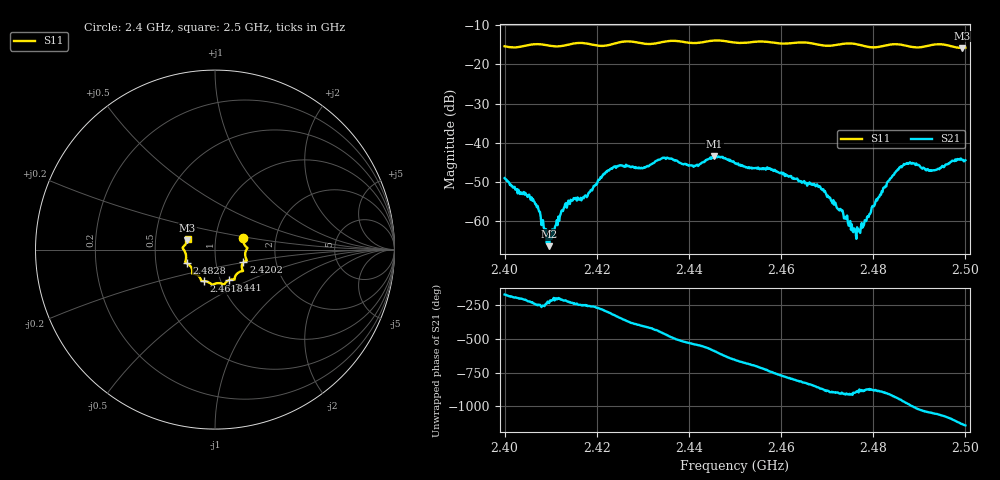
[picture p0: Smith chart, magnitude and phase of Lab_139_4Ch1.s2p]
# Hz S RI R 50
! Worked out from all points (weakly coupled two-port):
!   601 points, 2.4 GHz to 2.5 GHz, reference 50 ohm
!   highest |S21| = -43.45 dB at 2.4455 GHz (marker M1); lowest = -66.4 dB at 2.4097 GHz (marker M2)
!   lowest |S11| = -15.8 dB at 2.4993 GHz (marker M3), VSWR 1.39, Z = 36.5 + j3.85 ohm
!   |S11| at or under -10 dB: start of sweep to end of sweep
!   S12 and S22 are empty: the file has one direction only
!   S11 on the Smith chart (normalised r, x): 2.4 GHz: 1.36, +0.18; 2.4202 GHz: 1.36, -0.20; 2.441 GHz: 1.10, -0.39; 2.4618 GHz: 0.84, -0.30; 2.4828 GHz: 0.72, -0.11; 2.5 GHz: 0.73, +0.09
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2.4e9  0.1582 0.0627  -0.00347 -0.000685  0 0  0 0
2.406333e9  0.1801 0.0105  -0.00101 0.00149  0 0  0 0
2.409667e9  0.1733 -0.00353  -0.000296 0.000379  0 0  0 0
2.412833e9  0.1691 -0.0382  -0.00121 0.000808  0 0  0 0
2.416667e9  0.1775 -0.0607  -0.000666 0.00172  0 0  0 0
2.420167e9  0.1581 -0.0711  -0.00014 0.00317  0 0  0 0
2.4235e9  0.1502 -0.1027  0.00359 0.00325  0 0  0 0
2.43e9  0.1364 -0.1246  0.00343 -0.00327  0 0  0 0
2.433333e9  0.1115 -0.151  0.00112 -0.00598  0 0  0 0
2.441e9  0.0785 -0.1697  -0.00493 -0.000259  0 0  0 0
2.4455e9  0.0512 -0.1946  -0.00451 0.00498  0 0  0 0
2.45e9  0.028 -0.1875  0.00231 0.00496  0 0  0 0
2.461833e9  -0.0595 -0.1757  0.00138 -0.0035  0 0  0 0
2.466667e9  -0.0786 -0.1682  -0.0015 -0.0025  0 0  0 0
2.469e9  -0.0878 -0.151  -0.0022 -0.00118  0 0  0 0
2.476667e9  -0.1269 -0.1267  -0.000734 -0.000201  0 0  0 0
2.482833e9  -0.1577 -0.0766  -0.00278 5.52e-05  0 0  0 0
2.483333e9  -0.1608 -0.0752  -0.00326 0.000413  0 0  0 0
2.4875e9  -0.162 -0.055  -0.000882 0.00531  0 0  0 0
2.492833e9  -0.1773 0.00421  0.00385 0.00221  0 0  0 0
2.499333e9  -0.1536 0.0514  0.00381 -0.00469  0 0  0 0
2.5e9  -0.1519 0.061  0.00287 -0.00526  0 0  0 0
